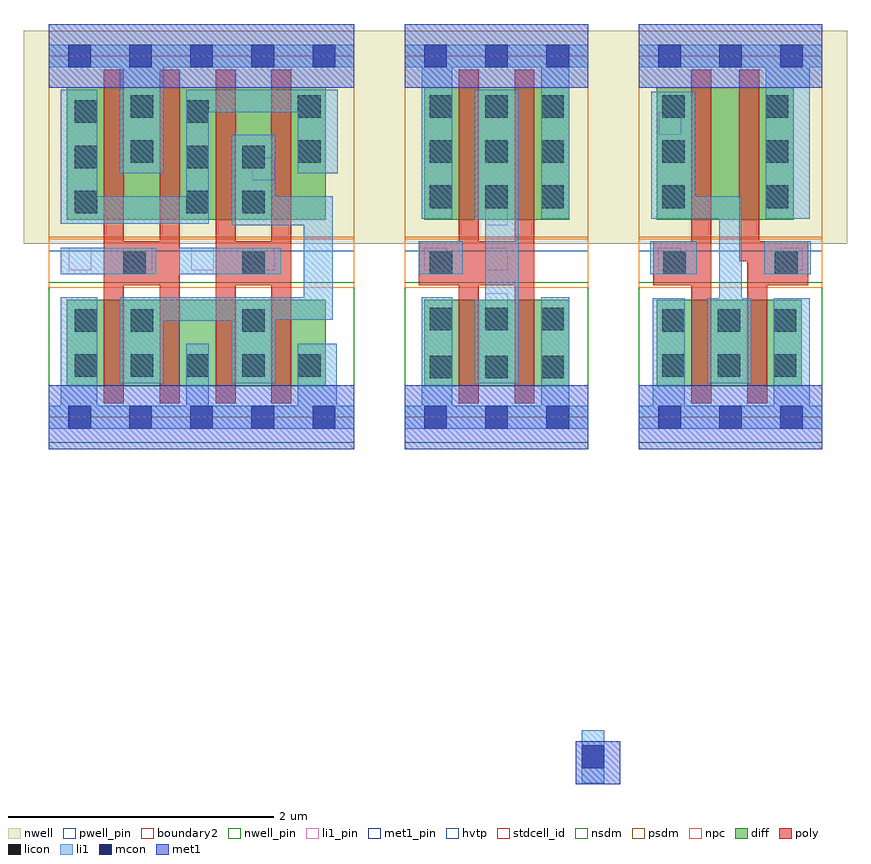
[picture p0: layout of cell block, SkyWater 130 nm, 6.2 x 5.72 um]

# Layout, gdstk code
import gdstk
lib = gdstk.Library(unit=1e-6, precision=1e-09)
def R(c, l, rs):  # rectangles x0, y0, x1, y1
    for r in rs: c.add(gdstk.rectangle(r[:2], r[2:], *l))
def A(c, l, x, y, w, h, nx, ny, dx, dy):  # array of equal rectangles
    R(c, l, [(x+i*dx, y+j*dy, x+i*dx+w, y+j*dy+h) for i in range(nx) for j in range(ny)])
def P(c, l, *ps):  # polygons
    for p in ps: c.add(gdstk.Polygon(p, *l))
nwell_pin = (64, 16)
nwell = (64, 20)
diff = (65, 20)
poly = (66, 20)
licon = (66, 44)
li1_pin = (67, 16)
li1 = (67, 20)
mcon = (67, 44)
met1_pin = (68, 16)
met1 = (68, 20)
hvtp = (78, 44)
stdcell_id = (81, 4)
nsdm = (93, 44)
psdm = (94, 20)
npc = (95, 20)
pwell_pin = (122, 16)
boundary2 = (236, 0)

sky130_fd_sc_hd__nor2_2 = lib.new_cell('sky130_fd_sc_hd__nor2_2')
R(sky130_fd_sc_hd__nor2_2, nwell_pin, [(0.15,2.635,0.32,2.805)])
R(sky130_fd_sc_hd__nor2_2, nwell, [(-0.19,1.305,2.49,2.91)])
R(sky130_fd_sc_hd__nor2_2, diff, [(0.135,0.235,2.085,0.885), (0.135,1.485,2.085,2.485)])
P(sky130_fd_sc_hd__nor2_2, poly, [(0.415,0.105),(0.415,2.615),(0.565,2.615),(0.565,1.325),(0.835,1.325),(0.835,2.615),(0.985,2.615),(0.985,0.105),(0.835,0.105),(0.835,0.995),(0.565,0.995),(0.565,0.105)],
  [(1.255,0.105),(1.255,2.615),(1.405,2.615),(1.405,1.325),(1.675,1.325),(1.675,2.615),(1.825,2.615),(1.825,0.105),(1.675,0.105),(1.675,0.995),(1.405,0.995),(1.405,0.105)])
A(sky130_fd_sc_hd__nor2_2, licon, 0.195, 0.305, 0.17, 0.17, 5, 1, 0.42, 0)
A(sky130_fd_sc_hd__nor2_2, licon, 0.195, 1.535, 0.17, 0.17, 1, 3, 0, 0.34)
A(sky130_fd_sc_hd__nor2_2, licon, 1.035, 1.535, 0.17, 0.17, 1, 3, 0, 0.34)
R(sky130_fd_sc_hd__nor2_2, licon, [(0.195,0.645,0.365,0.815), (0.615,0.645,0.785,0.815), (1.455,0.645,1.625,0.815), (0.56,1.075,0.73,1.245), (1.455,1.075,1.625,1.245), (1.455,1.535,1.625,1.705), (1.455,1.875,1.625,2.045), (0.615,1.915,0.785,2.085), (1.875,1.915,2.045,2.085), (0.615,2.255,0.785,2.425), (1.875,2.255,2.045,2.425)])
A(sky130_fd_sc_hd__nor2_2, li1_pin, 0.15, 1.105, 0.17, 0.17, 4, 1, 0.46, 0)
R(sky130_fd_sc_hd__nor2_2, li1_pin, [(1.53,1.785,1.7,1.955)])
R(sky130_fd_sc_hd__nor2_2, li1, [(0.09,1.075,0.81,1.275), (0.98,1.075,1.75,1.275)])
P(sky130_fd_sc_hd__nor2_2, li1, [(0,-0.085),(0,0.085),(0.09,0.085),(0.09,0.905),(0.365,0.905),(0.365,0.085),(1.035,0.085),(1.035,0.555),(1.205,0.555),(1.205,0.085),(1.875,0.085),(1.875,0.555),(2.165,0.555),(2.165,0.085),(2.3,0.085),(2.3,-0.085)],
  [(0.535,1.835),(0.535,2.635),(0,2.635),(0,2.805),(2.3,2.805),(2.3,2.635),(0.865,2.635),(0.865,1.835)],
  [(0.535,0.255),(0.535,0.905),(1.92,0.905),(1.92,1.445),(1.375,1.445),(1.375,2.125),(1.705,2.125),(1.705,1.665),(2.135,1.665),(2.135,0.735),(1.705,0.735),(1.705,0.255),(1.375,0.255),(1.375,0.725),(0.865,0.725),(0.865,0.255)],
  [(0.09,1.455),(0.09,2.465),(0.365,2.465),(0.365,1.665),(1.035,1.665),(1.035,2.465),(2.175,2.465),(2.175,1.835),(1.875,1.835),(1.875,2.295),(1.205,2.295),(1.205,1.455)])
A(sky130_fd_sc_hd__nor2_2, mcon, 0.145, -0.085, 0.17, 0.17, 5, 2, 0.46, 2.72)
R(sky130_fd_sc_hd__nor2_2, met1_pin, [(0.15,-0.085,0.32,0.085), (0.15,2.635,0.32,2.805)])
R(sky130_fd_sc_hd__nor2_2, hvtp, [(0,1.25,2.3,2.72)])
R(sky130_fd_sc_hd__nor2_2, stdcell_id, [(0,0,2.3,2.72)])
R(sky130_fd_sc_hd__nor2_2, nsdm, [(0,-0.19,2.3,1.015)])
R(sky130_fd_sc_hd__nor2_2, psdm, [(0,1.355,2.3,2.91)])
R(sky130_fd_sc_hd__nor2_2, npc, [(0,0.975,2.3,1.345)])
R(sky130_fd_sc_hd__nor2_2, pwell_pin, [(0.15,-0.085,0.32,0.085)])
R(sky130_fd_sc_hd__nor2_2, boundary2, [(0,0,2.3,2.72)])
sky130_fd_sc_hd__nor2_2.add(gdstk.FlexPath([(0,2.72),(2.3,2.72)], 0.48, ends="flush", simple_path=True, layer=68, datatype=20))  # met1
sky130_fd_sc_hd__nor2_2.add(gdstk.FlexPath([(0,0),(2.3,0)], 0.48, ends="flush", simple_path=True, layer=68, datatype=20))  # met1
sky130_fd_sc_hd__nor2_2.add(gdstk.Label('B', (1.155,1.19), layer=67, texttype=5))
sky130_fd_sc_hd__nor2_2.add(gdstk.Label('Y', (1.615,1.87), layer=67, texttype=5))
sky130_fd_sc_hd__nor2_2.add(gdstk.Label('A', (0.235,1.19), layer=67, texttype=5))
sky130_fd_sc_hd__nor2_2.add(gdstk.Label('VPB', (0.235,2.72), layer=64, texttype=5))
sky130_fd_sc_hd__nor2_2.add(gdstk.Label('VNB', (0.235,0), layer=64, texttype=59))
sky130_fd_sc_hd__nor2_2.add(gdstk.Label('VGND', (0.235,0), layer=68, texttype=5))
sky130_fd_sc_hd__nor2_2.add(gdstk.Label('VPWR', (0.235,2.72), layer=68, texttype=5))
sky130_fd_sc_hd__nor2_2.add(gdstk.Label('nor2_2', (0,0), layer=83, texttype=44))

sky130_fd_sc_hd__inv_2 = lib.new_cell('sky130_fd_sc_hd__inv_2')
R(sky130_fd_sc_hd__inv_2, nwell_pin, [(0.145,2.635,0.315,2.805)])
R(sky130_fd_sc_hd__inv_2, nwell, [(-0.19,1.305,1.57,2.91)])
R(sky130_fd_sc_hd__inv_2, diff, [(0.145,0.235,1.235,0.885), (0.145,1.485,1.235,2.485)])
P(sky130_fd_sc_hd__inv_2, poly, [(0.405,0.105),(0.405,0.995),(0.105,0.995),(0.105,1.325),(0.405,1.325),(0.405,2.615),(0.555,2.615),(0.555,1.325),(0.825,1.325),(0.825,2.615),(0.975,2.615),(0.975,0.105),(0.825,0.105),(0.825,0.995),(0.555,0.995),(0.555,0.105)])
A(sky130_fd_sc_hd__inv_2, licon, 0.185, 0.295, 0.17, 0.17, 3, 2, 0.42, 0.36)
A(sky130_fd_sc_hd__inv_2, licon, 0.185, 1.575, 0.17, 0.17, 3, 3, 0.42, 0.34)
R(sky130_fd_sc_hd__inv_2, licon, [(0.185,1.075,0.355,1.245)])
A(sky130_fd_sc_hd__inv_2, li1_pin, 0.605, 0.765, 0.17, 0.17, 1, 3, 0, 0.34)
R(sky130_fd_sc_hd__inv_2, li1_pin, [(0.145,1.105,0.315,1.275)])
R(sky130_fd_sc_hd__inv_2, li1, [(0.105,1.075,0.435,1.325)])
P(sky130_fd_sc_hd__inv_2, li1, [(0.125,1.495),(0.125,2.635),(0,2.635),(0,2.805),(1.38,2.805),(1.38,2.635),(1.235,2.635),(1.235,1.495),(1.025,1.495),(1.025,2.635),(0.355,2.635),(0.355,1.495)],
  [(0.525,0.255),(0.525,0.885),(0.605,0.885),(0.605,1.485),(0.525,1.485),(0.525,2.465),(0.855,2.465),(0.855,0.255)],
  [(0,-0.085),(0,0.085),(0.125,0.085),(0.125,0.905),(0.355,0.905),(0.355,0.085),(1.025,0.085),(1.025,0.905),(1.235,0.905),(1.235,0.085),(1.38,0.085),(1.38,-0.085)])
A(sky130_fd_sc_hd__inv_2, mcon, 0.145, -0.085, 0.17, 0.17, 3, 2, 0.46, 2.72)
R(sky130_fd_sc_hd__inv_2, met1_pin, [(0.145,-0.085,0.315,0.085), (0.145,2.635,0.315,2.805)])
R(sky130_fd_sc_hd__inv_2, hvtp, [(0,1.25,1.38,2.72)])
R(sky130_fd_sc_hd__inv_2, stdcell_id, [(0,0,1.38,2.72)])
R(sky130_fd_sc_hd__inv_2, nsdm, [(0,-0.19,1.38,1.015)])
R(sky130_fd_sc_hd__inv_2, psdm, [(0,1.355,1.38,2.91)])
R(sky130_fd_sc_hd__inv_2, npc, [(0,0.975,1.38,1.345)])
R(sky130_fd_sc_hd__inv_2, pwell_pin, [(0.145,-0.085,0.315,0.085)])
R(sky130_fd_sc_hd__inv_2, boundary2, [(0,0,1.38,2.72)])
sky130_fd_sc_hd__inv_2.add(gdstk.FlexPath([(0,2.72),(1.38,2.72)], 0.48, ends="flush", simple_path=True, layer=68, datatype=20))  # met1
sky130_fd_sc_hd__inv_2.add(gdstk.FlexPath([(0,0),(1.38,0)], 0.48, ends="flush", simple_path=True, layer=68, datatype=20))  # met1
sky130_fd_sc_hd__inv_2.add(gdstk.Label('A', (0.23,1.19), layer=67, texttype=5))
sky130_fd_sc_hd__inv_2.add(gdstk.Label('Y', (0.69,0.85), layer=67, texttype=5))
sky130_fd_sc_hd__inv_2.add(gdstk.Label('Y', (0.69,1.53), layer=67, texttype=5))
sky130_fd_sc_hd__inv_2.add(gdstk.Label('Y', (0.69,1.19), layer=67, texttype=5))
sky130_fd_sc_hd__inv_2.add(gdstk.Label('VPB', (0.23,2.72), layer=64, texttype=5))
sky130_fd_sc_hd__inv_2.add(gdstk.Label('VNB', (0.23,0), layer=64, texttype=59))
sky130_fd_sc_hd__inv_2.add(gdstk.Label('VPWR', (0.23,2.72), layer=68, texttype=5))
sky130_fd_sc_hd__inv_2.add(gdstk.Label('VGND', (0.23,0), layer=68, texttype=5))
sky130_fd_sc_hd__inv_2.add(gdstk.Label('inv_2', (0,0), layer=83, texttype=44))

sky130_fd_sc_hd__nor2_1 = lib.new_cell('sky130_fd_sc_hd__nor2_1')
R(sky130_fd_sc_hd__nor2_1, nwell_pin, [(0.15,2.635,0.32,2.805)])
R(sky130_fd_sc_hd__nor2_1, nwell, [(-0.19,1.305,1.57,2.91)])
R(sky130_fd_sc_hd__nor2_1, diff, [(0.135,0.235,1.225,0.885), (0.135,1.485,1.165,2.485)])
P(sky130_fd_sc_hd__nor2_1, poly, [(0.815,0.105),(0.815,1.175),(0.755,1.175),(0.755,2.615),(0.905,2.615),(0.905,1.325),(1.275,1.325),(1.275,0.995),(0.965,0.995),(0.965,0.105)],
  [(0.395,0.105),(0.395,0.995),(0.11,0.995),(0.11,1.325),(0.395,1.325),(0.395,2.615),(0.545,2.615),(0.545,0.105)])
A(sky130_fd_sc_hd__nor2_1, licon, 0.175, 0.305, 0.17, 0.17, 3, 2, 0.42, 0.34)
A(sky130_fd_sc_hd__nor2_1, licon, 0.175, 1.575, 0.17, 0.17, 1, 3, 0, 0.34)
A(sky130_fd_sc_hd__nor2_1, licon, 0.955, 1.575, 0.17, 0.17, 1, 3, 0, 0.34)
R(sky130_fd_sc_hd__nor2_1, licon, [(0.185,1.075,0.355,1.245), (1.025,1.075,1.195,1.245)])
R(sky130_fd_sc_hd__nor2_1, li1_pin, [(0.145,1.105,0.315,1.275), (1.065,1.105,1.235,1.275), (0.15,2.125,0.32,2.295)])
R(sky130_fd_sc_hd__nor2_1, li1, [(0.085,1.075,0.435,1.325), (0.945,1.075,1.295,1.325)])
P(sky130_fd_sc_hd__nor2_1, li1, [(0,-0.085),(0,0.085),(0.105,0.085),(0.105,0.895),(0.345,0.895),(0.345,0.085),(1.015,0.085),(1.015,0.895),(1.285,0.895),(1.285,0.085),(1.38,0.085),(1.38,-0.085)],
  [(0.955,1.495),(0.955,2.635),(0,2.635),(0,2.805),(1.38,2.805),(1.38,2.635),(1.285,2.635),(1.285,1.495)],
  [(0.515,0.255),(0.515,0.895),(0.605,0.895),(0.605,1.495),(0.095,1.495),(0.095,2.45),(0.425,2.45),(0.425,1.665),(0.775,1.665),(0.775,0.895),(0.845,0.895),(0.845,0.255)])
A(sky130_fd_sc_hd__nor2_1, mcon, 0.145, -0.085, 0.17, 0.17, 3, 2, 0.46, 2.72)
R(sky130_fd_sc_hd__nor2_1, met1_pin, [(0.15,-0.085,0.32,0.085), (0.15,2.635,0.32,2.805)])
R(sky130_fd_sc_hd__nor2_1, hvtp, [(0,1.25,1.38,2.72)])
R(sky130_fd_sc_hd__nor2_1, stdcell_id, [(0,0,1.38,2.72)])
R(sky130_fd_sc_hd__nor2_1, nsdm, [(0,-0.19,1.38,1.015)])
R(sky130_fd_sc_hd__nor2_1, psdm, [(0,1.355,1.38,2.91)])
R(sky130_fd_sc_hd__nor2_1, npc, [(0,0.975,1.38,1.345)])
R(sky130_fd_sc_hd__nor2_1, pwell_pin, [(0.15,-0.085,0.32,0.085)])
R(sky130_fd_sc_hd__nor2_1, boundary2, [(0,0,1.38,2.72)])
sky130_fd_sc_hd__nor2_1.add(gdstk.FlexPath([(0,2.72),(1.38,2.72)], 0.48, ends="flush", simple_path=True, layer=68, datatype=20))  # met1
sky130_fd_sc_hd__nor2_1.add(gdstk.FlexPath([(0,0),(1.38,0)], 0.48, ends="flush", simple_path=True, layer=68, datatype=20))  # met1
sky130_fd_sc_hd__nor2_1.add(gdstk.Label('B', (0.23,1.19), layer=67, texttype=5))
sky130_fd_sc_hd__nor2_1.add(gdstk.Label('Y', (0.235,2.21), layer=67, texttype=5))
sky130_fd_sc_hd__nor2_1.add(gdstk.Label('A', (1.15,1.19), layer=67, texttype=5))
sky130_fd_sc_hd__nor2_1.add(gdstk.Label('VPB', (0.235,2.72), layer=64, texttype=5))
sky130_fd_sc_hd__nor2_1.add(gdstk.Label('VNB', (0.235,0), layer=64, texttype=59))
sky130_fd_sc_hd__nor2_1.add(gdstk.Label('VGND', (0.23,0), layer=68, texttype=5))
sky130_fd_sc_hd__nor2_1.add(gdstk.Label('VPWR', (0.23,2.72), layer=68, texttype=5))
sky130_fd_sc_hd__nor2_1.add(gdstk.Label('nor2_1', (0,0), layer=83, texttype=44))

block = lib.new_cell('block')
R(block, li1, [(4.01,-2.755,4.18,-2.355)])
R(block, mcon, [(4.01,-2.64,4.18,-2.47)])
R(block, met1, [(3.965,-2.76,4.3,-2.44)])
block.add(gdstk.Reference(sky130_fd_sc_hd__nor2_2, (0,0)))
block.add(gdstk.Reference(sky130_fd_sc_hd__inv_2, (2.68,0)))
block.add(gdstk.Reference(sky130_fd_sc_hd__nor2_1, (4.44,0)))

lib.write_gds('block.gds')
